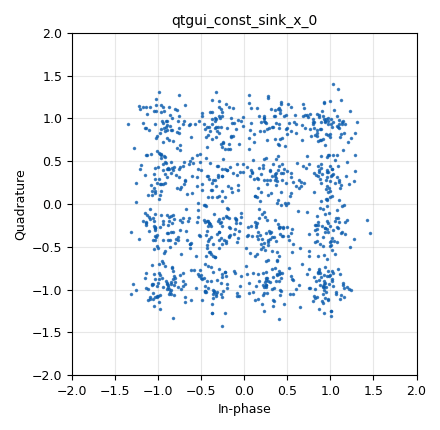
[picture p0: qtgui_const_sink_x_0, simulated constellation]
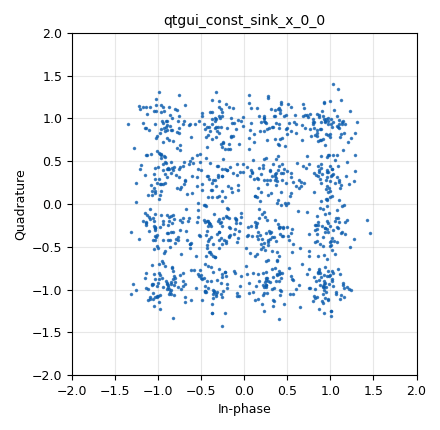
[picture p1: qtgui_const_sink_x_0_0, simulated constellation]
<?xml version='1.0' encoding='utf-8'?>
<?grc format='1' created='3.7.12'?>
<flow_graph>
<block>
<key>options</key>
<param><key>id</key><value>eve</value></param>
<param><key>author</key><value>Noah Thurston</value></param>
<param><key>generate_options</key><value>qt_gui</value></param>
</block>
<block>
<key>variable_qtgui_chooser</key>
<param><key>id</key><value>ab_mute</value></param>
<param><key>value</key><value>False</value></param>
<param><key>label0</key><value>Don't Block</value></param>
<param><key>label1</key><value>Block</value></param>
<param><key>label</key><value>Mute AB Output</value></param>
<param><key>num_opts</key><value>2</value></param>
<param><key>option0</key><value>False</value></param>
<param><key>option1</key><value>True</value></param>
<param><key>type</key><value>raw</value></param>
<param><key>widget</key><value>radio_buttons</value></param>
</block>
<block>
<key>variable_constellation</key>
<param><key>id</key><value>const_16qam</value></param>
<param><key>type</key><value>16qam</value></param>
<param><key>precision</key><value>8</value></param>
</block>
<block>
<key>variable_constellation</key>
<param><key>id</key><value>const_8psk</value></param>
<param><key>type</key><value>8psk</value></param>
<param><key>precision</key><value>8</value></param>
</block>
<block>
<key>variable_constellation</key>
<param><key>id</key><value>const_bpsk</value></param>
<param><key>type</key><value>bpsk</value></param>
<param><key>precision</key><value>8</value></param>
</block>
<block>
<key>variable_qtgui_chooser</key>
<param><key>id</key><value>const_index</value></param>
<param><key>value</key><value>3</value></param>
<param><key>label0</key><value>BPSK</value></param>
<param><key>label1</key><value>QPSK</value></param>
<param><key>label2</key><value>8PSK</value></param>
<param><key>label3</key><value>16QAM</value></param>
<param><key>label</key><value>Constellation</value></param>
<param><key>num_opts</key><value>4</value></param>
<param><key>option0</key><value>0</value></param>
<param><key>option1</key><value>1</value></param>
<param><key>option2</key><value>2</value></param>
<param><key>option3</key><value>3</value></param>
<param><key>orient</key><value>Qt.QHBoxLayout</value></param>
<param><key>type</key><value>int</value></param>
<param><key>widget</key><value>radio_buttons</value></param>
</block>
<block>
<key>variable_constellation</key>
<param><key>id</key><value>const_qpsk</value></param>
<param><key>type</key><value>qpsk</value></param>
<param><key>precision</key><value>8</value></param>
</block>
<block>
<key>variable</key>
<param><key>id</key><value>constellations</value></param>
<param><key>value</key><value>[const_bpsk, const_qpsk, const_8psk, const_16qam]</value></param>
</block>
<block>
<key>variable</key>
<param><key>id</key><value>samp_rate</value></param>
<param><key>value</key><value>100000</value></param>
</block>
<block>
<key>variable</key>
<param><key>id</key><value>signal_len</value></param>
<param><key>value</key><value>1024</value></param>
</block>
<block>
<key>variable_qtgui_range</key>
<param><key>id</key><value>snr_db_ab</value></param>
<param><key>value</key><value>10</value></param>
<param><key>orient</key><value>Qt.Horizontal</value></param>
<param><key>start</key><value>-10</value></param>
<param><key>step</key><value>1</value></param>
<param><key>stop</key><value>15</value></param>
</block>
<block>
<key>variable_qtgui_range</key>
<param><key>id</key><value>snr_db_ae</value></param>
<param><key>value</key><value>10</value></param>
<param><key>orient</key><value>Qt.Horizontal</value></param>
<param><key>start</key><value>-10</value></param>
<param><key>step</key><value>1</value></param>
<param><key>stop</key><value>15</value></param>
</block>
<block>
<key>analog_random_source_x</key>
<param><key>id</key><value>analog_random_source_x_0</value></param>
<param><key>max</key><value>256</value></param>
<param><key>min</key><value>0</value></param>
<param><key>num_samps</key><value>10000</value></param>
<param><key>type</key><value>byte</value></param>
<param><key>repeat</key><value>True</value></param>
</block>
<block>
<key>blocks_message_debug</key>
<param><key>id</key><value>blocks_message_debug_0</value></param>
</block>
<block>
<key>blocks_mute_xx</key>
<param><key>id</key><value>blocks_mute_xx_0</value></param>
<param><key>type</key><value>complex</value></param>
<param><key>mute</key><value>ab_mute</value></param>
</block>
<block>
<key>blocks_repack_bits_bb</key>
<param><key>id</key><value>blocks_repack_bits_bb_0</value></param>
<param><key>k</key><value>8</value></param>
<param><key>l</key><value>int(np.log2(constellations[const_index].arity()))</value></param>
<param><key>endianness</key><value>gr.GR_MSB_FIRST</value></param>
</block>
<block>
<key>blocks_stream_to_vector</key>
<param><key>id</key><value>blocks_stream_to_vector_0</value></param>
<param><key>type</key><value>complex</value></param>
<param><key>num_items</key><value>64</value></param>
</block>
<block>
<key>blocks_throttle</key>
<param><key>id</key><value>blocks_throttle_0</value></param>
<param><key>samples_per_second</key><value>samp_rate</value></param>
<param><key>type</key><value>complex</value></param>
</block>
<block>
<key>blocks_throttle</key>
<param><key>id</key><value>blocks_throttle_0_0</value></param>
<param><key>samples_per_second</key><value>samp_rate</value></param>
<param><key>type</key><value>complex</value></param>
</block>
<block>
<key>channels_channel_model</key>
<param><key>id</key><value>channels_channel_model_0</value></param>
<param><key>epsilon</key><value>1.0</value></param>
<param><key>freq_offset</key><value>0.0</value></param>
<param><key>noise_voltage</key><value>numpy.sqrt(10.0**(-snr_db_ab/10.0)/2)</value></param>
<param><key>seed</key><value>0</value></param>
<param><key>taps</key><value>1.0</value></param>
</block>
<block>
<key>channels_channel_model</key>
<param><key>id</key><value>channels_channel_model_0_0</value></param>
<param><key>epsilon</key><value>1.0</value></param>
<param><key>freq_offset</key><value>0.0</value></param>
<param><key>noise_voltage</key><value>numpy.sqrt(10.0**(-snr_db_ae/10.0)/2)</value></param>
<param><key>seed</key><value>0</value></param>
<param><key>taps</key><value>1.0</value></param>
</block>
<block>
<key>classify_trained_model_classifier_vc</key>
<param><key>id</key><value>classify_trained_model_classifier_vc_0</value></param>
<param><key>trained_model_filename</key><value>/home/gvanhoy/gr-classify/apps/cumulant_classifier.pkl</value></param>
<param><key>vlen</key><value>64</value></param>
</block>
<block>
<key>digital_chunks_to_symbols_xx</key>
<param><key>id</key><value>digital_chunks_to_symbols_xx_0</value></param>
<param><key>dimension</key><value>1</value></param>
<param><key>in_type</key><value>byte</value></param>
<param><key>out_type</key><value>complex</value></param>
<param><key>symbol_table</key><value>constellations[const_index].points()</value></param>
</block>
<block>
<key>eve_mod_mute_ctrl_rr</key>
<param><key>id</key><value>eve_mod_mute_ctrl_rr_0</value></param>
<param><key>_enabled</key><value>0</value></param>
</block>
<block>
<key>import</key>
<param><key>id</key><value>import_0</value></param>
<param><key>import</key><value>import numpy as np</value></param>
</block>
<block>
<key>qtgui_const_sink_x</key>
<param><key>id</key><value>qtgui_const_sink_x_0</value></param>
<param><key>size</key><value>1024</value></param>
<param><key>type</key><value>complex</value></param>
</block>
<block>
<key>qtgui_const_sink_x</key>
<param><key>id</key><value>qtgui_const_sink_x_0_0</value></param>
<param><key>size</key><value>1024</value></param>
<param><key>type</key><value>complex</value></param>
</block>
<connection><source_block_id>analog_random_source_x_0</source_block_id><sink_block_id>blocks_repack_bits_bb_0</sink_block_id><source_key>0</source_key><sink_key>0</sink_key></connection>
<connection><source_block_id>blocks_mute_xx_0</source_block_id><sink_block_id>qtgui_const_sink_x_0</sink_block_id><source_key>0</source_key><sink_key>0</sink_key></connection>
<connection><source_block_id>blocks_repack_bits_bb_0</source_block_id><sink_block_id>digital_chunks_to_symbols_xx_0</sink_block_id><source_key>0</source_key><sink_key>0</sink_key></connection>
<connection><source_block_id>blocks_stream_to_vector_0</source_block_id><sink_block_id>classify_trained_model_classifier_vc_0</sink_block_id><source_key>0</source_key><sink_key>0</sink_key></connection>
<connection><source_block_id>blocks_throttle_0</source_block_id><sink_block_id>blocks_mute_xx_0</sink_block_id><source_key>0</source_key><sink_key>0</sink_key></connection>
<connection><source_block_id>blocks_throttle_0_0</source_block_id><sink_block_id>blocks_stream_to_vector_0</sink_block_id><source_key>0</source_key><sink_key>0</sink_key></connection>
<connection><source_block_id>blocks_throttle_0_0</source_block_id><sink_block_id>qtgui_const_sink_x_0_0</sink_block_id><source_key>0</source_key><sink_key>0</sink_key></connection>
<connection><source_block_id>channels_channel_model_0</source_block_id><sink_block_id>blocks_throttle_0</sink_block_id><source_key>0</source_key><sink_key>0</sink_key></connection>
<connection><source_block_id>channels_channel_model_0_0</source_block_id><sink_block_id>blocks_throttle_0_0</sink_block_id><source_key>0</source_key><sink_key>0</sink_key></connection>
<connection><source_block_id>classify_trained_model_classifier_vc_0</source_block_id><sink_block_id>blocks_message_debug_0</sink_block_id><source_key>classification_info</source_key><sink_key>print</sink_key></connection>
<connection><source_block_id>classify_trained_model_classifier_vc_0</source_block_id><sink_block_id>eve_mod_mute_ctrl_rr_0</sink_block_id><source_key>classification_info</source_key><sink_key>in</sink_key></connection>
<connection><source_block_id>digital_chunks_to_symbols_xx_0</source_block_id><sink_block_id>channels_channel_model_0</sink_block_id><source_key>0</source_key><sink_key>0</sink_key></connection>
<connection><source_block_id>digital_chunks_to_symbols_xx_0</source_block_id><sink_block_id>channels_channel_model_0_0</sink_block_id><source_key>0</source_key><sink_key>0</sink_key></connection>
<connection><source_block_id>eve_mod_mute_ctrl_rr_0</source_block_id><sink_block_id>blocks_mute_xx_0</sink_block_id><source_key>mute_info</source_key><sink_key>set_mute</sink_key></connection>
</flow_graph>
